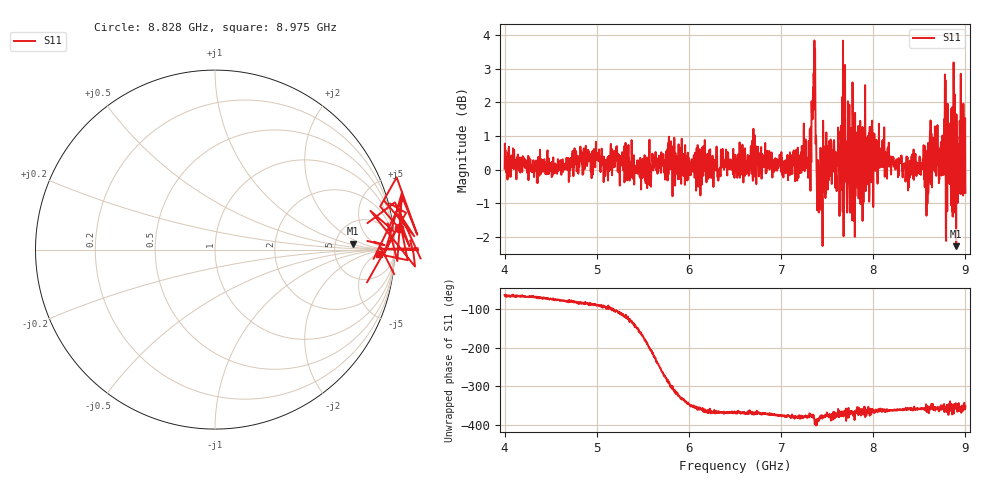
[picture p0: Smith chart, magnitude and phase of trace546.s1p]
! Created with skrf 1.8.0 (http://scikit-rf.org).
# Hz S RI R 50.0
!freq ReS11 ImS11
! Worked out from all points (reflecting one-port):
!   1601 points, 4 GHz to 9 GHz, reference 50 ohm
!   lowest |S11| = -2.3 dB at 8.9 GHz (marker M1), VSWR 7.68, Z = 374 + j61.1 ohm
!   phase of S11 starts at -65 deg and turns -286 deg over the sweep
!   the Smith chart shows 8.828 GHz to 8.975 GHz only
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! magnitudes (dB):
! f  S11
! 4 GHz  0.0
! 4.625 GHz  0.0
! 5.25 GHz  -0.5
! 5.875 GHz  0.0
! 6.5 GHz  0.2
! 7.125 GHz  0.3
! 7.294 GHz  -0.2
! 7.356 GHz  2.6
! 7.4 GHz  0.3
! 7.428 GHz  0.6
! 7.478 GHz  0.2
! 7.538 GHz  0.9
! 7.609 GHz  0.4
! 7.669 GHz  -1.2
! 7.738 GHz  0.4
! 7.75 GHz  -0.3
! 7.769 GHz  0.1
! 7.834 GHz  0.1
! 8.097 GHz  0.4
! 8.375 GHz  -0.3
! 8.584 GHz  0.6
! 8.647 GHz  0.2
! 8.738 GHz  0.8
! 8.759 GHz  0.1
! 8.766 GHz  0.9
! 8.9 GHz  -2.3
! 8.972 GHz  0.6
! 9 GHz  -0.7
